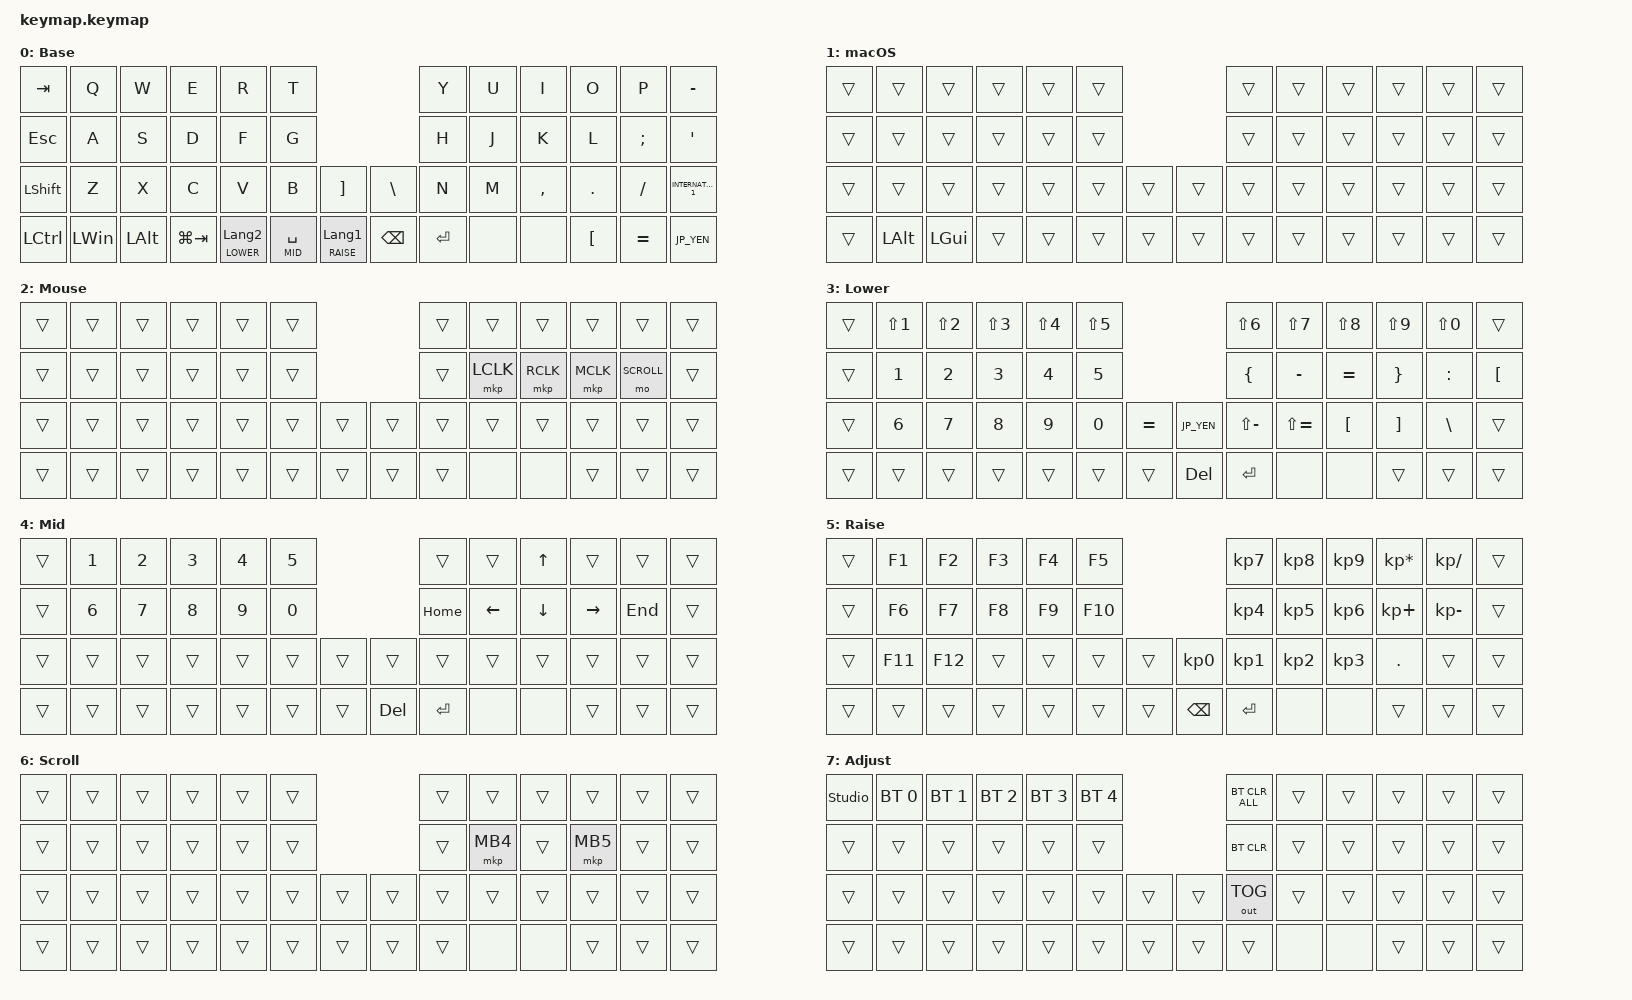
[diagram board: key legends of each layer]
#include <behaviors.dtsi>
#include <dt-bindings/zmk/bt.h>
#include <dt-bindings/zmk/keys.h>
#include <dt-bindings/zmk/outputs.h>
#include <dt-bindings/zmk/pointing.h>
#include <dt-bindings/zmk/mouse.h>

// DYA Studioで作成したMacroをキーへ割り当てるbehaviorを登録します。
// 新規状態の空slotを割り当てても、キー入力は発生しない安全な仕様です。
#include <behaviors/runtime_macro.dtsi>

#define BASE     0
#define MACOS    1
#define MOUSE    2
#define LOWER    3
#define MID      4
#define RAISE    5
#define SCROLL   6
#define ADJUST   7

// OS設定を日本語キーボードのまま使用するための変換定義
#define JP_DQUOTE       AT                // "
#define JP_AMPERSAND    CARET             // &
#define JP_QUOTE        AMPERSAND         // '
#define JP_EQUAL        UNDER             // =
#define JP_CARET        EQUAL             // ^
#define JP_YEN          0x89              // ¥
#define JP_PLUS         COLON             // +
#define JP_TILDE        PLUS              // ~
#define JP_PIPE         LS(0x89)          // |
#define JP_AT           LEFT_BRACKET      // @
#define JP_COLON        SINGLE_QUOTE      // :
#define JP_ASTERISK     DOUBLE_QUOTES     // *
#define JP_BACKQUOTE    LEFT_BRACE        // `
#define JP_UNDERSCORE   LS(0x87)          // _
#define JP_LBRACKET     RIGHT_BRACKET     // [
#define JP_RBRACKET     BACKSLASH         // ]
#define JP_LPAREN       ASTERISK          // (
#define JP_RPAREN       LEFT_PARENTHESIS  // )
#define JP_LBRACE       RIGHT_BRACE       // {
#define JP_RBRACE       PIPE              // }
#define JP_KANA         LANGUAGE_1        // かな
#define JP_EISU         LANGUAGE_2        // 英数
#define JP_HANZEN       GRAVE             // 半角/全角

// Conditional layerの定義
// 複数のレイヤーを同時に有効にしたときに、特定のレイヤーを有効にするための定義
/ {
    conditional_layers {
        compatible = "zmk,conditional-layers";
        tri_layer {
            if-layers = <MID RAISE>;
            then-layer = <ADJUST>;
        };
    };
};

/ {
    combos {
        compatible = "zmk,combos";

        bt_clear {
            bindings = <&bt BT_CLR>;
            key-positions = <16 17>;
            layers = <2>;
        };
    };

    keymap {
        compatible = "zmk,keymap";

// BASE
        layer_0 {
            display-name = "Base";
            bindings = <
&kp TAB    &kp Q      &kp W           &kp E         &kp R               &kp T                                                              &kp Y           &kp U     &kp I      &kp O        &kp P            &kp MINUS
&kp ESC    &kp A      &kp S           &kp D         &kp F               &kp G                                                              &kp H           &kp J     &kp K      &kp L        &kp SEMI         &kp JP_COLON
&kp LSHFT  &kp Z      &kp X           &kp C         &kp V               &kp B            &kp JP_LBRACKET            &kp JP_RBRACKET        &kp N           &kp M     &kp COMMA  &kp DOT      &kp FSLH         &kp INTERNATIONAL_1
&kp LCTRL  &kp LWIN   &kp LEFT_ALT    &kp LG(TAB)   &lt LOWER JP_EISU   &lt MID SPACE    &lt RAISE JP_KANA          &kp BACKSPACE          &kp RETURN      &none     &none      &kp JP_AT    &kp JP_CARET     &kp JP_YEN
            >;
        };

// macOS
// Baseレイヤーを下敷きにし、修飾キーだけをmacOS向けの並びへ変更します。
// 透明キーはBaseの割り当てをそのまま使うため、通常キーを二重管理する必要がありません。
        layer_1 {
            display-name = "macOS";
            bindings = <
&trans  &trans    &trans    &trans  &trans  &trans                  &trans  &trans  &trans  &trans  &trans  &trans
&trans  &trans    &trans    &trans  &trans  &trans                  &trans  &trans  &trans  &trans  &trans  &trans
&trans  &trans    &trans    &trans  &trans  &trans  &trans  &trans  &trans  &trans  &trans  &trans  &trans  &trans
&trans  &kp LALT  &kp LGUI  &trans  &trans  &trans  &trans  &trans  &trans  &trans  &trans  &trans  &trans  &trans
            >;
        };

// MOUSE
        layer_2 {
            display-name = "Mouse";
            bindings = <
&trans  &trans  &trans  &trans     &trans     &trans                  &trans  &trans     &trans     &trans     &trans      &trans
&trans  &trans  &trans  &trans     &trans     &trans                  &trans  &mkp LCLK  &mkp RCLK  &mkp MCLK  &mo SCROLL  &trans
&trans  &trans  &trans  &trans     &trans     &trans  &trans  &trans  &trans  &trans     &trans     &trans     &trans      &trans
&trans  &trans  &trans  &trans     &trans     &trans  &trans  &trans  &trans  &none      &none      &trans     &trans      &trans
            >;
        };

// LOWER
        layer_3 {
            display-name = "Lower";
            bindings = <
&trans  &kp LS(N1)        &kp LS(N2)        &kp LS(N3)  &kp LS(N4)  &kp LS(N5)                              &kp LS(N6)      &kp LS(N7)     &kp LS(N8)        &kp LS(N9)         &kp LS(N0)     &trans
&trans  &kp N1            &kp N2            &kp N3      &kp N4      &kp N5                                  &kp LEFT_BRACE  &kp MINUS      &kp EQUAL         &kp RIGHT_BRACE    &kp COLON      &kp JP_AT
&trans  &kp N6            &kp N7            &kp N8      &kp N9      &kp N0      &kp JP_CARET  &kp JP_YEN    &kp LS(MINUS)   &kp LS(EQUAL)  &kp LEFT_BRACKET  &kp RIGHT_BRACKET  &kp BACKSLASH  &trans
&trans  &trans            &trans            &trans      &trans      &trans      &trans        &kp DEL       &kp RETURN      &none          &none             &trans             &trans         &trans
            >;
        };

// MID
        layer_4 {
            display-name = "Mid";
            bindings = <
&trans  &kp N1  &kp N2  &kp N3     &kp N4     &kp N5                   &trans       &trans     &kp UP      &trans     &trans      &trans
&trans  &kp N6  &kp N7  &kp N8     &kp N9     &kp N0                   &kp HOME     &kp LEFT   &kp DOWN    &kp RIGHT  &kp END     &trans
&trans  &trans  &trans  &trans     &trans     &trans  &trans  &trans   &trans       &trans     &trans      &trans     &trans      &trans
&trans  &trans  &trans  &trans     &trans     &trans  &trans  &kp DEL  &kp RETURN   &none      &none       &trans     &trans      &trans
            >;
        };

// RAISE
        layer_5 {
            display-name = "Raise";
            bindings = <
&trans  &kp F1   &kp F2   &kp F3        &kp F4        &kp F5                                &kp KP_N7      &kp KP_N8        &kp KP_N9      &kp KP_MULTIPLY   &kp KP_DIVIDE   &trans
&trans  &kp F6   &kp F7   &kp F8        &kp F9        &kp F10                               &kp KP_N4      &kp KP_N5        &kp KP_N6      &kp KP_PLUS       &kp KP_MINUS    &trans
&trans  &kp F11  &kp F12  &trans        &trans        &trans      &trans     &kp KP_N0      &kp KP_N1      &kp KP_N2        &kp KP_N3      &kp DOT           &trans          &trans
&trans  &trans   &trans   &trans        &trans        &trans      &trans     &kp BACKSPACE  &kp RETURN     &none            &none          &trans            &trans          &trans
            >;
        };

// SCROLL
// スクロールレイヤー。トラックボールのスクロールモード切替に使用する
        layer_6 {
            display-name = "Scroll";
            bindings = <
&trans  &trans  &trans  &trans     &trans     &trans                  &trans  &trans     &trans     &trans     &trans  &trans
&trans  &trans  &trans  &trans     &trans     &trans                  &trans  &mkp MB4   &trans     &mkp MB5   &trans  &trans
&trans  &trans  &trans  &trans     &trans     &trans  &trans  &trans  &trans  &trans     &trans     &trans     &trans  &trans
&trans  &trans  &trans  &trans     &trans     &trans  &trans  &trans  &trans  &none      &none      &trans     &trans  &trans
            >;
        };

// ADJUST
// 設定レイヤー。Bluetoothのペアリングや、トラックボールのモード切替などを行う
        layer_7 {
            display-name = "Adjust";
            bindings = <
&studio_unlock  &bt BT_SEL 0  &bt BT_SEL 1  &bt BT_SEL 2  &bt BT_SEL 3  &bt BT_SEL 4          &bt BT_CLR_ALL  &trans     &trans     &trans     &trans  &trans
&trans  &trans        &trans        &trans        &trans        &trans                        &bt BT_CLR      &trans     &trans     &trans     &trans  &trans
&trans  &trans        &trans        &trans        &trans        &trans        &trans  &trans  &out OUT_TOG    &trans     &trans     &trans     &trans  &trans
&trans  &trans        &trans        &trans        &trans        &trans        &trans  &trans  &trans          &none      &none      &trans     &trans  &trans
            >;
        };

// DYA Studioから追加レイヤーを作成できるよう、末尾に空き領域を確保します。
// 接続先の既定レイヤーにはBaseまたはmacOSだけを使用し、この領域は通常の編集用に残します。
        extra_1 { status = "reserved"; };
        extra_2 { status = "reserved"; };
        extra_3 { status = "reserved"; };
    };
};
